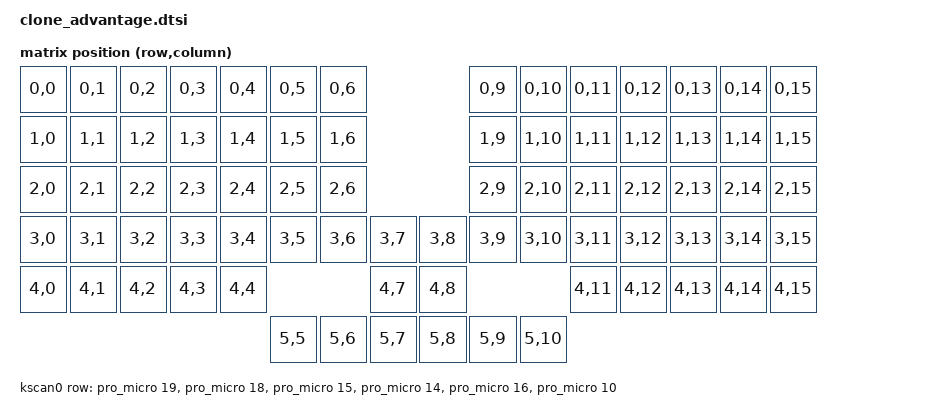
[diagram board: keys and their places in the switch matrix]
/*
 * Copyright (c) 2020 The ZMK Contributors
 *
 * SPDX-License-Identifier: MIT
 */

#include <dt-bindings/zmk/matrix_transform.h>
#include "clone_advantage-layouts.dtsi"

/ {
	chosen {
		zmk,kscan = &kscan0;
		zmk,matrix_transform = &default_transform;
		zmk,physical-layout = &physical_layout0;
	};

	default_transform: keymap_transform_0 {
		compatible = "zmk,matrix-transform";
		columns = <16>;
		rows = <6>;
// | SW1  | SW5  | SW9  | SW13 | SW17 | SW21 | SW25 |      |    |      | SW25 | SW21 | SW17 | SW13 | SW9  | SW5  | SW1  |
// | SW2  | SW6  | SW10 | SW14 | SW18 | SW22 | SW26 |      |    |      | SW26 | SW22 | SW18 | SW14 | SW10 | SW6  | SW2  |
// | SW3  | SW7  | SW11 | SW15 | SW19 | SW23 | SW27 |      |    |      | SW27 | SW23 | SW19 | SW15 | SW11 | SW7  | SW3  |
// | SW4  | SW8  | SW12 | SW16 | SW20 | SW24 |      | MW28 |    | MW28 |      | SW24 | SW20 | SW16 | SW12 | SW8  | SW4  |
// | SW30 | SW31 | SW32 | MW33 | SW34 |      | MW35 | MW40 |    | MW40 | MW35 |      | SW34 | MW33 | SW32 | SW31 | SW30 |
        map = <
RC(0,0) RC(0,1) RC(0,2) RC(0,3) RC(0,4) RC(0,5) RC(0,6)  				  RC(0,9) RC(0,10) RC(0,11) RC(0,12) RC(0,13) RC(0,14) RC(0,15)
RC(1,0) RC(1,1) RC(1,2) RC(1,3) RC(1,4) RC(1,5) RC(1,6) 				  RC(1,9) RC(1,10) RC(1,11) RC(1,12) RC(1,13) RC(1,14) RC(1,15)
RC(2,0) RC(2,1) RC(2,2) RC(2,3) RC(2,4) RC(2,5) RC(2,6) 				  RC(2,9) RC(2,10) RC(2,11) RC(2,12) RC(2,13) RC(2,14) RC(2,15)
RC(3,0) RC(3,1) RC(3,2) RC(3,3) RC(3,4) RC(3,5) RC(3,6) RC(3,7)   RC(3,8) RC(3,9) RC(3,10) RC(3,11) RC(3,12) RC(3,13) RC(3,14) RC(3,15)
RC(4,0) RC(4,1) RC(4,2) RC(4,3) RC(4,4) 	     		RC(4,7)   RC(4,8)     			   RC(4,11) RC(4,12) RC(4,13) RC(4,14) RC(4,15)
  										RC(5,5) RC(5,6) RC(5,7)   RC(5,8) RC(5,9) RC(5,10) 	
		>;
	};

	kscan0: kscan {
		compatible = "zmk,kscan-gpio-matrix";
		label = "KSCAN";

		diode-direction = "col2row";
			row-gpios
        		= <&pro_micro 19 (GPIO_ACTIVE_HIGH | GPIO_PULL_DOWN)>
        		, <&pro_micro 18 (GPIO_ACTIVE_HIGH | GPIO_PULL_DOWN)>
        		, <&pro_micro 15 (GPIO_ACTIVE_HIGH | GPIO_PULL_DOWN)>
        		, <&pro_micro 14 (GPIO_ACTIVE_HIGH | GPIO_PULL_DOWN)>
        		, <&pro_micro 16 (GPIO_ACTIVE_HIGH | GPIO_PULL_DOWN)>
        		, <&pro_micro 10 (GPIO_ACTIVE_HIGH | GPIO_PULL_DOWN)>
        		;
	};
};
